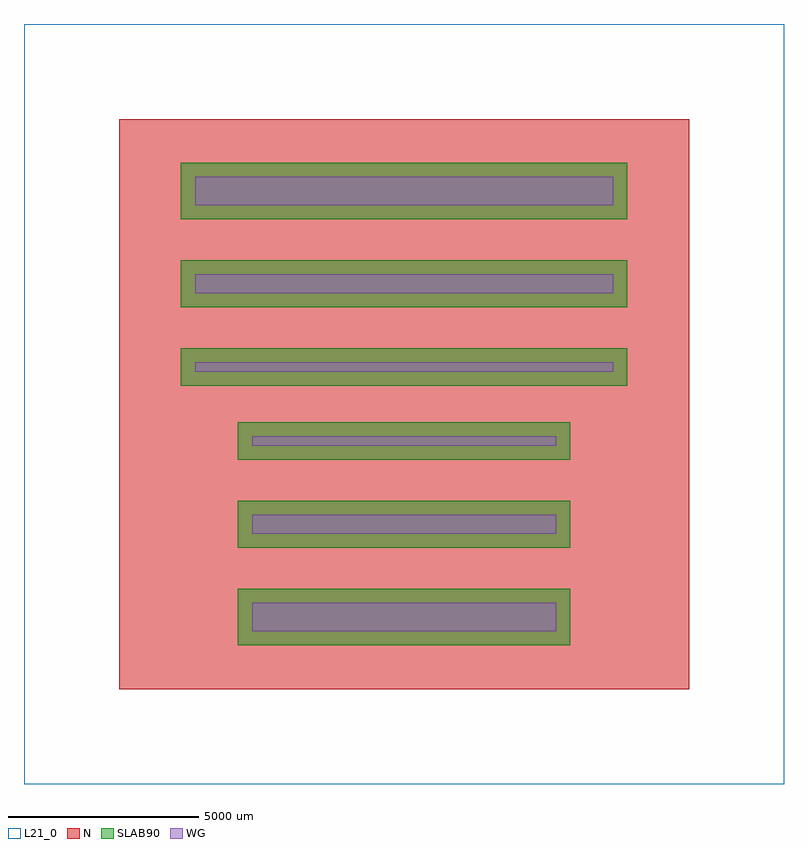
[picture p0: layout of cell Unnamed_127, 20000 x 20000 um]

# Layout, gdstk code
import gdstk
lib = gdstk.Library(unit=1e-6, precision=1e-09)
def R(c, l, rs):  # rectangles x0, y0, x1, y1
    for r in rs: c.add(gdstk.rectangle(r[:2], r[2:], *l))
WG = (1, 0)
SLAB90 = (3, 0)
N = (20, 0)
L21_0 = (21, 0)

rectangle_s8742p34_1242_ = lib.new_cell('rectangle_S8742p34_1242_e0d1e8f0')
R(rectangle_s8742p34_1242_, SLAB90, [(0,0,8742.34,1242.34)])

rectangle_s8000_500_l1__ = lib.new_cell('rectangle_S8000_500_L1__00e8b23c')
R(rectangle_s8000_500_l1__, WG, [(0,0,8000,500)])

rectangle_s11000_250_l1_ = lib.new_cell('rectangle_S11000_250_L1_35af61c5')
R(rectangle_s11000_250_l1_, WG, [(0,0,11000,250)])

rectangle_s8742p34_992p_ = lib.new_cell('rectangle_S8742p34_992p_10c30f7c')
R(rectangle_s8742p34_992p_, SLAB90, [(0,0,8742.34,992.34)])

rectangle_s8000_250_l1__ = lib.new_cell('rectangle_S8000_250_L1__23d4cd1b')
R(rectangle_s8000_250_l1__, WG, [(0,0,8000,250)])

rectangle_s8742p34_1492_ = lib.new_cell('rectangle_S8742p34_1492_6d0cd754')
R(rectangle_s8742p34_1492_, SLAB90, [(0,0,8742.34,1492.34)])

rectangle_s11000_750_l1_ = lib.new_cell('rectangle_S11000_750_L1_4aeca8e6')
R(rectangle_s11000_750_l1_, WG, [(0,0,11000,750)])

rectangle_s11742p34_124_ = lib.new_cell('rectangle_S11742p34_124_35634cfc')
R(rectangle_s11742p34_124_, SLAB90, [(0,0,11742.34,1242.34)])

rectangle_s11000_500_l1_ = lib.new_cell('rectangle_S11000_500_L1_e8eac09b')
R(rectangle_s11000_500_l1_, WG, [(0,0,11000,500)])

rectangle_s8000_750_l1__ = lib.new_cell('rectangle_S8000_750_L1__7cb8aa79')
R(rectangle_s8000_750_l1__, WG, [(0,0,8000,750)])

rectangle_s11742p34_992_ = lib.new_cell('rectangle_S11742p34_992_5e8ff1e2')
R(rectangle_s11742p34_992_, SLAB90, [(0,0,11742.34,992.34)])

rectangle_s20000_20000__ = lib.new_cell('rectangle_S20000_20000__aa48e1ac')
R(rectangle_s20000_20000__, L21_0, [(0,0,20000,20000)])

rectangle_s11742p34_149_ = lib.new_cell('rectangle_S11742p34_149_befed679')
R(rectangle_s11742p34_149_, SLAB90, [(0,0,11742.34,1492.34)])

rectangle_s15000_15000__ = lib.new_cell('rectangle_S15000_15000__6a6c2047')
R(rectangle_s15000_15000__, N, [(0,0,15000,15000)])

unnamed_127 = lib.new_cell('Unnamed_127')
unnamed_127.add(gdstk.Reference(rectangle_s8742p34_1242_, (-4371.17,-3784.68)))
unnamed_127.add(gdstk.Reference(rectangle_s8000_500_l1__, (-4000,-3413.51)))
unnamed_127.add(gdstk.Reference(rectangle_s11000_250_l1_, (-5500,846.17)))
unnamed_127.add(gdstk.Reference(rectangle_s8742p34_992p_, (-4371.17,-1467.34)))
unnamed_127.add(gdstk.Reference(rectangle_s8000_250_l1__, (-4000,-1096.17)))
unnamed_127.add(gdstk.Reference(rectangle_s8742p34_1492_, (-4371.17,-6352.02)))
unnamed_127.add(gdstk.Reference(rectangle_s11000_750_l1_, (-5500,5230.85)))
unnamed_127.add(gdstk.Reference(rectangle_s11742p34_124_, (-5871.17,2542.34)))
unnamed_127.add(gdstk.Reference(rectangle_s11000_500_l1_, (-5500,2913.51)))
unnamed_127.add(gdstk.Reference(rectangle_s8000_750_l1__, (-4000,-5980.85)))
unnamed_127.add(gdstk.Reference(rectangle_s11742p34_992_, (-5871.17,475)))
unnamed_127.add(gdstk.Reference(rectangle_s20000_20000__, (-10000,-10000)))
unnamed_127.add(gdstk.Reference(rectangle_s11742p34_149_, (-5871.17,4859.68)))
unnamed_127.add(gdstk.Reference(rectangle_s15000_15000__, (-7500,-7500)))

lib.write_gds('Unnamed_127.gds')
